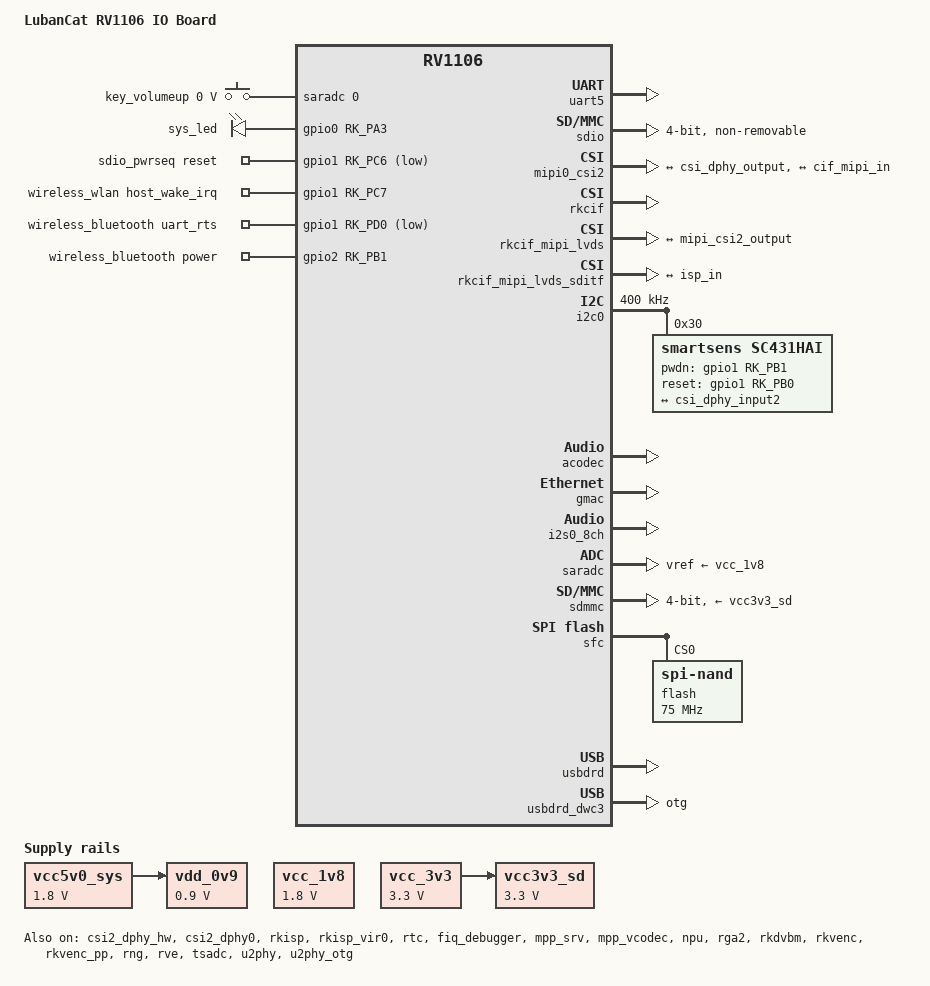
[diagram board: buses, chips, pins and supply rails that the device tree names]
// SPDX-License-Identifier: (GPL-2.0+ OR MIT)
/*
 * Copyright (c) 2022 Rockchip Electronics Co., Ltd.
 */

/dts-v1/;

#include "rv1106.dtsi"
#include <dt-bindings/input/input.h>

/ {
    model = "LubanCat RV1106 IO Board";
	compatible = "embedfire,rv1106g-lubancat-io", "rockchip,rv1106";

	chosen {
		bootargs = "earlycon=uart8250,mmio32,0xff4c0000 console=ttyFIQ0 root=/dev/mmcblk0p5 rootfstype=ext4 rootwait snd_soc_core.prealloc_buffer_size_kbytes=16 coherent_pool=0 net.ifnames=0 biosdevname=0";
	};

	acodec_sound: acodec-sound {
		compatible = "simple-audio-card";
		simple-audio-card,name = "rv1106-acodec";
		simple-audio-card,format = "i2s";
		simple-audio-card,mclk-fs = <256>;
		simple-audio-card,cpu {
			sound-dai = <&i2s0_8ch>;
		};
		simple-audio-card,codec {
			sound-dai = <&acodec>;
		};
	};

	restart-poweroff {
		compatible = "restart-poweroff";
	};

	recovery-key {
		compatible = "adc-keys";
		io-channels = <&saradc 0>;
		io-channel-names = "buttons";
		poll-interval = <100>;
		keyup-threshold-microvolt = <1800000>;

		key {
			label = "key_volumeup";
			linux,code = <KEY_VOLUMEUP>;
			press-threshold-microvolt = <0>;
		};
	};

	leds: leds {
		status = "okay";
		compatible = "gpio-leds";

		sys_led: sys-led {
			label = "sys_led";
			linux,default-trigger = "heartbeat";
			default-state = "on";
			gpios = <&gpio0 RK_PA3 GPIO_ACTIVE_HIGH>;
		};
	};

	vdd_0v9: vdd-0v9 {
		compatible = "regulator-fixed";
		regulator-name = "vdd_0v9";
		regulator-always-on;
		regulator-boot-on;
		regulator-min-microvolt = <900000>;
		regulator-max-microvolt = <900000>;
		vin-supply = <&vcc5v0_sys>;
	};

	vcc5v0_sys: vcc5v0-sys {
		compatible = "regulator-fixed";
		regulator-name = "vcc5v0_sys";
		regulator-always-on;
		regulator-boot-on;
		regulator-min-microvolt = <1800000>;
		regulator-max-microvolt = <1800000>;
	};

	vcc_1v8: vcc-1v8 {
		compatible = "regulator-fixed";
		regulator-name = "vcc_1v8";
		regulator-always-on;
		regulator-boot-on;
		regulator-min-microvolt = <1800000>;
		regulator-max-microvolt = <1800000>;
	};

	vcc_3v3: vcc-3v3 {
		compatible = "regulator-fixed";
		regulator-name = "vcc_3v3";
		regulator-always-on;
		regulator-boot-on;
		regulator-min-microvolt = <3300000>;
		regulator-max-microvolt = <3300000>;
	};

	vcc3v3_sd: vcc3v3-sd {
		compatible = "regulator-fixed";
		regulator-name = "vcc3v3_sd";
		regulator-always-on;
		regulator-boot-on;
		regulator-min-microvolt = <3300000>;
		regulator-max-microvolt = <3300000>;
		vin-supply = <&vcc_3v3>;
	};

	sdio_pwrseq: sdio-pwrseq {
		compatible = "mmc-pwrseq-simple";
		pinctrl-names = "default";
		pinctrl-0 = <&wifi_enable_h>;
		reset-gpios = <&gpio1 RK_PC6 GPIO_ACTIVE_LOW>;
	};

	wireless_wlan: wireless-wlan {
		compatible = "wlan-platdata";
		wifi_chip_type = "aic8800";
		// pinctrl-names = "default";
		// pinctrl-0 = <&wifi_host_wake_irq>;
		WIFI,host_wake_irq = <&gpio1 RK_PC7 GPIO_ACTIVE_HIGH>;
		status = "okay";
	};

	wireless_bluetooth: wireless-bluetooth {
		compatible = "bluetooth-platdata";
		uart_rts_gpios = <&gpio1 RK_PD0 GPIO_ACTIVE_LOW>;
		pinctrl-names = "default", "rts_gpio";
		pinctrl-0 = <&uart5m1_rtsn>;
		pinctrl-1 = <&uart5_rts_gpio>;
		BT,power_gpio = <&gpio2 RK_PB1 GPIO_ACTIVE_HIGH>;
		status = "okay";
	};

};

&uart5 {
	pinctrl-names = "default";
	pinctrl-0 = <&uart5m1_xfer &uart5m1_ctsn>;
	status = "okay";
};

&sdio {
	max-frequency = <50000000>;
	no-sd;
	no-mmc;
	bus-width = <4>;
	cap-sd-highspeed;
	cap-sdio-irq;
	keep-power-in-suspend;
	mmc-pwrseq = <&sdio_pwrseq>;
	non-removable;
	pinctrl-names = "default";
	pinctrl-0 = <&sdmmc1m1_cmd &sdmmc1m1_clk &sdmmc1m1_bus4>;
	status = "okay";
};

&pinctrl {
	wireless-bluetooth {
		uart5_rts_gpio: uart5-rts-gpio {
			rockchip,pins = <1 RK_PD0 RK_FUNC_GPIO &pcfg_pull_none>;
		};
	};

	sdio-pwrseq {
		wifi_enable_h: wifi-enable-h {
			rockchip,pins = <1 RK_PC6 RK_FUNC_GPIO &pcfg_pull_none>;
		};
	};

	wireless-wlan {
		wifi_host_wake_irq: wifi-host-wake-irq {
			rockchip,pins = <1 RK_PC7 RK_FUNC_GPIO &pcfg_pull_none>;
		};
	};
};


&csi2_dphy_hw {
	status = "okay";
};

&csi2_dphy0 {
	status = "okay";

	ports {
		#address-cells = <1>;
		#size-cells = <0>;

		port@0 {
			reg = <0>;
			#address-cells = <1>;
			#size-cells = <0>;

			csi_dphy_input2: endpoint@2 {
				reg = <2>;
				remote-endpoint = <&sc431hai_out>;
				data-lanes = <1 2>;
			};

			csi_dphy_input3: endpoint@3 {
				reg = <3>;
				remote-endpoint = <&sc235hai_out>;
				data-lanes = <1 2>;
			};
			
		};

		port@1 {
			reg = <1>;
			#address-cells = <1>;
			#size-cells = <0>;

			csi_dphy_output: endpoint@0 {
				reg = <0>;
				remote-endpoint = <&mipi_csi2_input>;
			};
		};
	};
};

&mipi0_csi2 {
	status = "okay";

	ports {
		#address-cells = <1>;
		#size-cells = <0>;

		port@0 {
			reg = <0>;
			#address-cells = <1>;
			#size-cells = <0>;

			mipi_csi2_input: endpoint@1 {
				reg = <1>;
				remote-endpoint = <&csi_dphy_output>;
			};
		};

		port@1 {
			reg = <1>;
			#address-cells = <1>;
			#size-cells = <0>;

			mipi_csi2_output: endpoint@0 {
				reg = <0>;
				remote-endpoint = <&cif_mipi_in>;
			};
		};
	};
};

&rkcif {
	status = "okay";
};

&rkcif_mipi_lvds {
	status = "okay";

	pinctrl-names = "default";
	pinctrl-0 = <&mipi_pins>;
	port {
		/* MIPI CSI-2 endpoint */
		cif_mipi_in: endpoint {
			remote-endpoint = <&mipi_csi2_output>;
		};
	};
};

&rkcif_mipi_lvds_sditf {
	status = "okay";

	port {
		/* MIPI CSI-2 endpoint */
		mipi_lvds_sditf: endpoint {
			remote-endpoint = <&isp_in>;
		};
	};
};

&rkisp {
	status = "okay";
};

&rkisp_vir0 {
	status = "okay";

	port@0 {
		isp_in: endpoint {
			remote-endpoint = <&mipi_lvds_sditf>;
		};
	};
};

&i2c0 {
	status = "okay";
	clock-frequency = <400000>;
	pinctrl-names = "default";
	pinctrl-0 = <&i2c0m0_xfer>;

	sc431hai: sc431hai@30 {
		compatible = "smartsens,sc431hai";
		status = "okay";
		reg = <0x30>;
		clocks = <&cru MCLK_REF_MIPI0>;
		clock-names = "xvclk";
		pwdn-gpios = <&gpio1 RK_PB1 GPIO_ACTIVE_HIGH>;
		reset-gpios = <&gpio1 RK_PB0 GPIO_ACTIVE_HIGH>;
		pinctrl-names = "default";
		pinctrl-0 = <&mipi_refclk_out0>;
		rockchip,camera-module-index = <0>;
		rockchip,camera-module-facing = "back";
		rockchip,camera-module-name = "CMK-OT2115-PC1";
		rockchip,camera-module-lens-name = "30IRC-F16";
		port {
			sc431hai_out: endpoint {
				remote-endpoint = <&csi_dphy_input2>;
				data-lanes = <1 2>;
			};
		};
	};

	sc235hai: sc235hai@30 {
		compatible = "smartsens,sc235hai";
		status = "disabled";
		reg = <0x30>;
		clocks = <&cru MCLK_REF_MIPI0>;
		clock-names = "xvclk";
		pwdn-gpios = <&gpio1 RK_PB1 GPIO_ACTIVE_HIGH>;
		reset-gpios = <&gpio1 RK_PB0 GPIO_ACTIVE_HIGH>;
		pinctrl-names = "rockchip,camera_default";
		pinctrl-0 = <&mipi_refclk_out0>;
		rockchip,camera-module-index = <0>;
		rockchip,camera-module-facing = "back";
		rockchip,camera-module-name = "CMK-OT2115-PC1";
		rockchip,camera-module-lens-name = "30IRC-F16";
		port {
			sc235hai_out: endpoint {
				remote-endpoint = <&csi_dphy_input3>;
				data-lanes = <1 2>;
			};
		};
	};
};

&acodec {
	#sound-dai-cells = <0>;
	pa-ctl-gpios = <&gpio1 RK_PA2 GPIO_ACTIVE_HIGH>;
	status = "okay";
};

&cpu0 {
	cpu-supply = <&vdd_0v9>;
};

&gmac {
	status = "okay";
};


&i2s0_8ch {
	#sound-dai-cells = <0>;
	status = "okay";
};

&rmii_phy {
	bgs,increment = <0>;
};

&rtc {
	status = "okay";
};

&saradc {
	status = "okay";
	vref-supply = <&vcc_1v8>;
};

&sdmmc {
	max-frequency = <200000000>;
	no-sdio;
	no-mmc;
	bus-width = <4>;
	cap-mmc-highspeed;
	cap-sd-highspeed;
	disable-wp;
	pinctrl-names = "normal", "idle";
	pinctrl-0 = <&sdmmc0_clk &sdmmc0_cmd &sdmmc0_det &sdmmc0_bus4>;
	pinctrl-1 = <&sdmmc0_idle_pins &sdmmc0_det>;
	vmmc-supply = <&vcc3v3_sd>;
	status = "okay";
};

&sfc {
	status = "okay";

	flash@0 {
		compatible = "spi-nand";
		reg = <0>;
		spi-max-frequency = <75000000>;
		spi-rx-bus-width = <4>;
		spi-tx-bus-width = <1>;
	};
};

&fiq_debugger {
	rockchip,irq-mode-enable = <1>;
	status = "okay";
};

&mpp_srv {
	status = "okay";
};

&mpp_vcodec {
	status = "okay";
};

&npu {
	status = "okay";
};

&rga2 {
	status = "okay";
};

&rkdvbm {
	status = "okay";
};

&rkvenc {
	status = "okay";
};

&rkvenc_pp {
	status = "okay";
};

&rng {
	status = "okay";
};

&rve {
	status = "okay";
};

&tsadc {
	status = "okay";
};

&u2phy {
	status = "okay";
};

&u2phy_otg {
	status = "okay";
};

&usbdrd {
	status = "okay";
};

&usbdrd_dwc3 {
    extcon = <&u2phy>;
	status = "okay";
    dr_mode = "otg";
};

